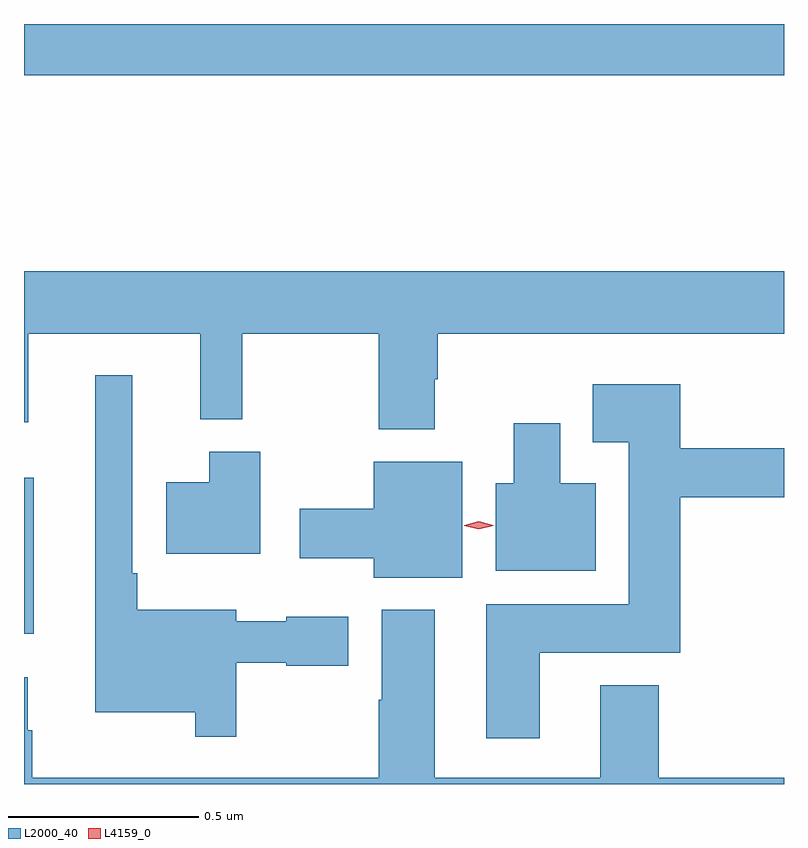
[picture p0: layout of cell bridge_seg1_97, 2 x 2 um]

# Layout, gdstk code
import gdstk
lib = gdstk.Library(unit=1e-6, precision=1e-09)
def R(c, l, rs):  # rectangles x0, y0, x1, y1
    for r in rs: c.add(gdstk.rectangle(r[:2], r[2:], *l))
def P(c, l, *ps):  # polygons
    for p in ps: c.add(gdstk.Polygon(p, *l))
L2000_40 = (2000, 40)
L4159_0 = (4159, 0)

bridge_seg1_97 = lib.new_cell('bridge_seg1_97')
R(bridge_seg1_97, L2000_40, [(300.3,576.251,300.325,576.661), (300.3,577.72,302.3,577.855)])
P(bridge_seg1_97, L2000_40, [(301.381,576.92),(301.389,576.92),(301.389,577.04),(302.3,577.04),(302.3,577.204),(300.3,577.204),(300.3,576.807),(300.311,576.807),(300.311,577.04),(300.764,577.04),(300.764,576.815),(300.874,576.815),(300.874,577.04),(301.234,577.04),(301.234,576.788),(301.381,576.788)],
  [(300.859,576.174),(300.99,576.174),(300.99,576.166),(301.153,576.166),(301.153,576.295),(300.99,576.295),(300.99,576.283),(300.859,576.283),(300.859,576.313),(300.598,576.313),(300.598,576.409),(300.585,576.409),(300.585,576.931),(300.488,576.931),(300.488,576.044),(300.75,576.044),(300.75,575.979),(300.859,575.979)],
  [(301.657,576.2),(302.027,576.2),(302.027,576.61),(302.3,576.61),(302.3,576.739),(302.027,576.739),(302.027,576.907),(301.797,576.907),(301.797,576.755),(301.892,576.755),(301.892,576.328),(301.517,576.328),(301.517,575.976),(301.657,575.976)],
  [(301.804,576.646),(301.711,576.646),(301.711,576.805),(301.589,576.805),(301.589,576.646),(301.541,576.646),(301.541,576.416),(301.804,576.416)],
  [(300.922,576.73),(300.788,576.73),(300.788,576.649),(300.674,576.649),(300.674,576.461),(300.922,576.461)],
  [(301.453,576.703),(301.22,576.703),(301.22,576.579),(301.026,576.579),(301.026,576.449),(301.22,576.449),(301.22,576.398),(301.453,576.398)],
  [(302.3,575.872),(301.97,575.872),(301.97,576.115),(301.817,576.115),(301.817,575.872),(301.381,575.872),(301.381,576.313),(301.241,576.313),(301.241,576.077),(301.234,576.077),(301.234,575.872),(300.322,575.872),(300.322,575.996),(300.31,575.996),(300.31,576.136),(300.3,576.136),(300.3,575.855),(302.3,575.855)])
P(bridge_seg1_97, L4159_0, [(301.497,576.526),(301.459,576.535),(301.459,576.536),(301.459,576.536),(301.497,576.546),(301.535,576.536),(301.535,576.536),(301.535,576.535)])

lib.write_gds('bridge_seg1_97.gds')
